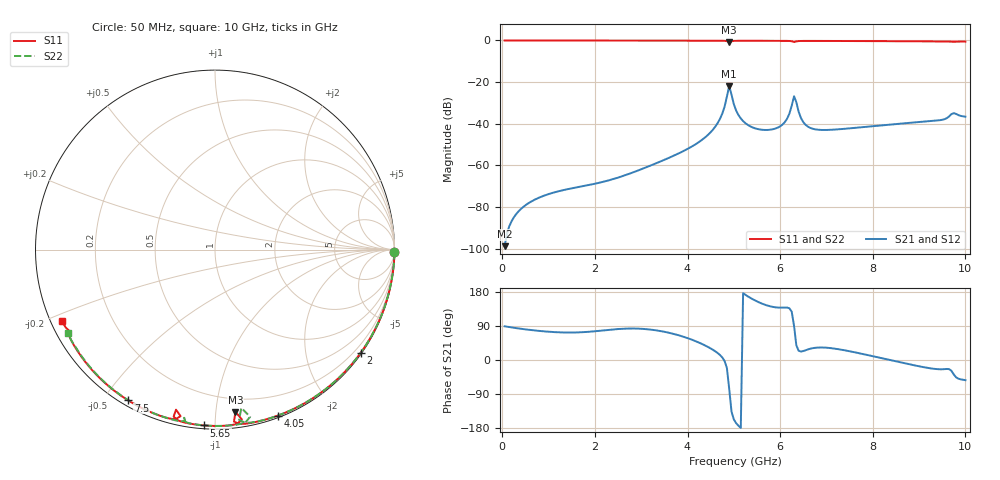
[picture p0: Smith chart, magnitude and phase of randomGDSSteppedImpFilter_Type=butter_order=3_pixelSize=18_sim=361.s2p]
! freq	dB(S11)	phase(S11)	dB(S12)	phase(S12)
!  dB(S21)	phase(S21)	dB(S22)	phase(S22)
!S-par simulation data
#  GHz  S  DB  R 50
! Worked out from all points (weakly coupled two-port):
!   200 points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, 50 MHz to 10 GHz, reference 50 ohm
!   highest |S21| = -21.87 dB at 4.9 GHz (marker M1); lowest = -98.8 dB at 50 MHz (marker M2)
!   lowest |S11| = -0.8 dB at 4.9 GHz (marker M3), VSWR 21.54, Z = 5.29 - j56.4 ohm
!   |S11| at or under -10 dB: nowhere
!   |S22| runs from -1.0 to 0.0 dB; largest |S21 - S12| = 0
!   S11 on the Smith chart (normalised r, x): 50 MHz: open; 2 GHz: 0.03, -3.15; 4.05 GHz: 0.02, -1.45; 5.65 GHz: 0.02, -0.94; 7.5 GHz: 0.02, -0.58; 10 GHz: 0.03, -0.22
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0.05  -0.00 -0.9  -98.84 89.0  -98.84 89.0  -0.00 -0.9
0.45  -0.01 -8.1  -80.05 81.6  -80.05 81.6  -0.01 -7.8
1.75  -0.04 -30.9  -69.97 73.5  -69.97 73.5  -0.04 -30.0
2  -0.04 -35.2  -68.84 75.8  -68.84 75.8  -0.04 -34.2
3.4  -0.08 -58.7  -58.30 76.7  -58.30 76.7  -0.08 -57.1
4.05  -0.10 -69.3  -51.51 55.6  -51.51 55.6  -0.09 -67.4
4.65  -0.12 -79.1  -39.70 18.4  -39.70 18.4  -0.13 -77.0
4.8  -0.18 -82.2  -31.83 -2.6  -31.83 -2.6  -0.20 -80.2
4.9  -0.81 -82.8  -21.87 -76.3  -21.87 -76.3  -0.98 -80.6
5.05  -0.17 -83.6  -33.70 -166.8  -33.70 -166.8  -0.18 -81.0
5.3  -0.15 -88.0  -40.56 168.0  -40.56 168.0  -0.15 -85.4
5.65  -0.16 -93.5  -42.99 146.8  -42.99 146.8  -0.16 -90.8
6.1  -0.20 -100.7  -39.25 138.4  -39.25 138.4  -0.18 -97.5
6.2  -0.25 -102.6  -35.14 136.4  -35.14 136.4  -0.21 -99.2
6.3  -0.74 -103.7  -26.80 90.1  -26.80 90.1  -0.42 -100.4
6.45  -0.24 -104.1  -37.31 22.3  -37.31 22.3  -0.21 -101.7
6.7  -0.22 -108.3  -42.40 31.1  -42.40 31.1  -0.21 -105.5
7.5  -0.27 -119.9  -42.24 23.1  -42.24 23.1  -0.26 -116.6
8.35  -0.34 -131.8  -40.46 0.5  -40.46 0.5  -0.33 -128.2
9.45  -0.47 -147.5  -38.31 -24.6  -38.31 -24.6  -0.45 -143.0
9.75  -0.62 -151.3  -34.91 -38.3  -34.91 -38.3  -0.47 -147.0
10  -0.54 -154.8  -36.62 -53.2  -36.62 -53.2  -0.50 -150.5
